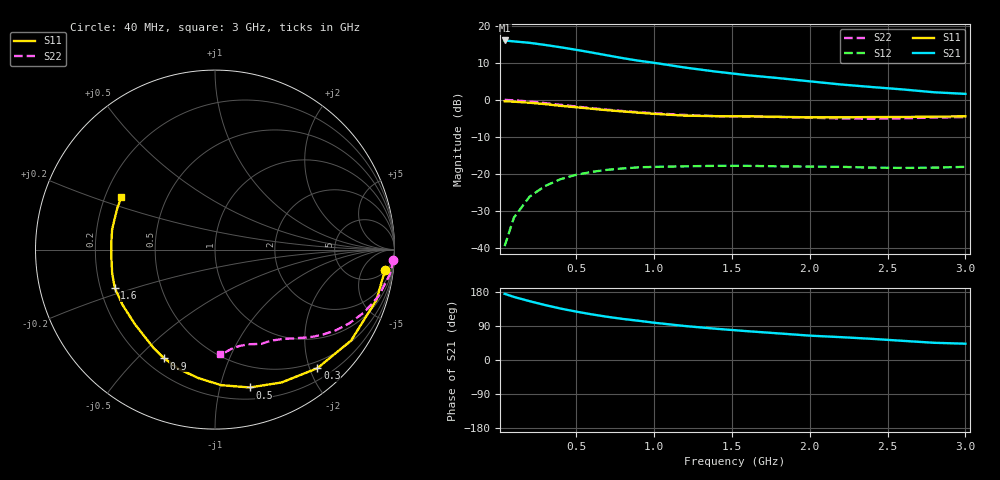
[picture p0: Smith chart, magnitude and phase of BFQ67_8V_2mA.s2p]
! Filename:  BFG67G.S2P  Version:  2.0
! Philips part #: BFG 67  Date: Jul 1990
! Bias condition: Vce=8V, Ic=2mA
! IN LINE PINNING: same data as with cross emitter pinning.
#  MHz  S  MA  R  50
! Freq  S11  S21  S12  S22  !GUM [dB]
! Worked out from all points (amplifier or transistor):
!   21 points, 40 MHz to 3 GHz, reference 50 ohm
!   highest |S21| = 16.0 dB at 40 MHz (marker M1)
!   |S21| within 3 dB of that: start of sweep to 563.9 MHz
!   unconditionally stable (mu >= 1): 2.327 GHz to end of sweep
!   at 300 MHz: K = 0.12, MSG = 19.1 dB, |S12| = -23.3 dB
!   at 1 GHz: K = 0.39, MSG = 14.1 dB, |S12| = -18.1 dB
!   at 3 GHz: K = 1.17, MAG = 7.4 dB, |S12| = -18.1 dB
!   S11 on the Smith chart (normalised r, x): 40 MHz: 6, -14; 300 MHz: 0.38, -2.13; 500 MHz: 0.30, -1.24; 900 MHz: 0.27, -0.60; 1.6 GHz: 0.26, -0.17; 3 GHz: 0.27, +0.24
40  0.954 -7.0  6.333 174.7  0.0105 85.7  0.996 -3.2
100  0.942 -17.4  6.15 166.4  0.0256 79.9  0.983 -8.3
200  0.912 -33.7  5.885 155.3  0.0489 70.6  0.947 -16.0
300  0.873 -49.2  5.509 145.0  0.0684 62.6  0.901 -22.9
400  0.828 -63.4  5.123 135.7  0.0845 55.4  0.854 -28.7
500  0.792 -75.9  4.735 127.7  0.0969 49.6  0.81 -33.7
600  0.756 -87.4  4.347 120.4  0.106 44.9  0.768 -37.9
700  0.722 -97.3  3.98 114.0  0.113 41.1  0.734 -41.3
800  0.695 -107.0  3.65 108.3  0.118 38.0  0.704 -44.1
900  0.669 -115.0  3.373 103.6  0.122 35.3  0.679 -46.5
1000  0.646 -122.0  3.161 98.4  0.124 32.6  0.657 -48.9
1200  0.61 -137.0  2.722 89.6  0.126 29.5  0.623 -53.1
1400  0.6 -149.0  2.398 82.4  0.128 27.5  0.601 -57.3
1600  0.598 -159.0  2.147 76.0  0.128 26.0  0.59 -60.8
1800  0.588 -167.0  1.962 70.2  0.126 25.7  0.585 -63.9
2000  0.579 -176.0  1.775 64.3  0.125 27.1  0.572 -66.9
2200  0.579 175.5  1.609 60.3  0.124 27.7  0.559 -70.7
2400  0.584 169.0  1.486 55.8  0.121 28.9  0.554 -75.7
2600  0.585 162.8  1.378 50.5  0.12 31.4  0.561 -80.8
2800  0.592 156.5  1.262 45.4  0.121 34.3  0.577 -84.6
3000  0.597 150.9  1.201 43.0  0.124 35.4  0.582 -87.5
